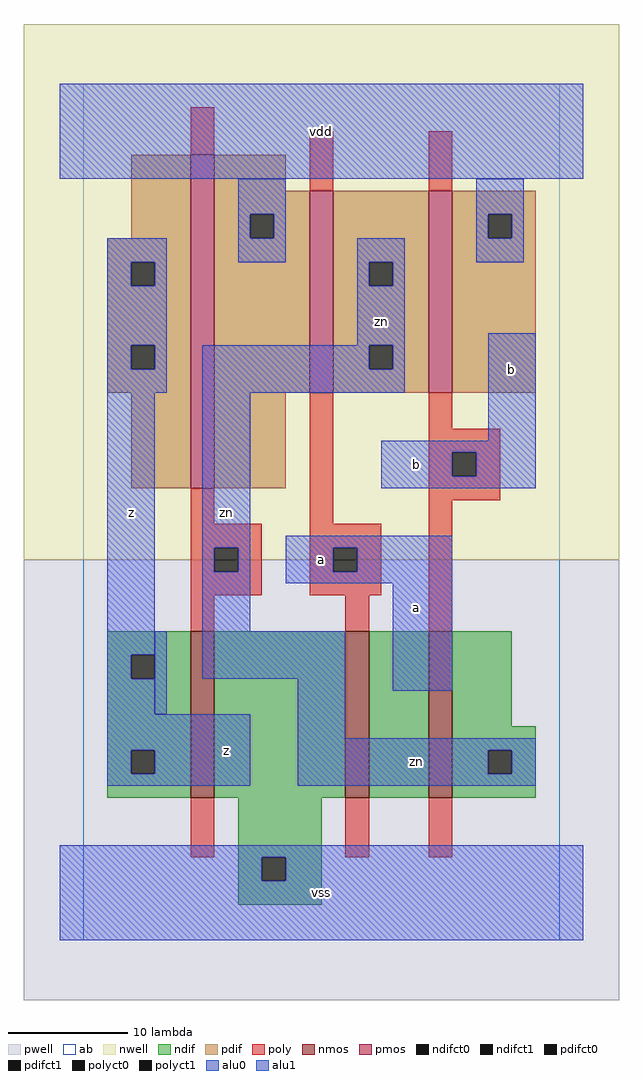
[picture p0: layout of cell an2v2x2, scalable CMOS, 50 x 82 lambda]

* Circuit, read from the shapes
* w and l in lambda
.subckt an2v2x2 a b vdd vss z zn
M1 vss zn z VSUBS nfet w=14 l=2
M2 n1 a vss VSUBS nfet w=14 l=2
M3 zn b n1 VSUBS nfet w=14 l=2
M4 vdd zn z n2 pfet w=28 l=2
M5 zn a vdd n2 pfet w=17 l=2
M6 vdd b zn n2 pfet w=17 l=2
.ends

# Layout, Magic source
magic
tech scmos
<< ab >>
rect 0 0 40 72
<< nwell >>
rect -5 32 45 77
<< pwell >>
rect -5 -5 45 32
<< poly >>
rect 9 66 11 70
rect 19 63 21 68
rect 29 63 31 68
rect 9 35 11 38
rect 19 35 21 46
rect 29 43 31 46
rect 29 41 35 43
rect 29 39 31 41
rect 33 39 35 41
rect 29 37 35 39
rect 9 33 15 35
rect 9 31 11 33
rect 13 31 15 33
rect 9 29 15 31
rect 19 33 25 35
rect 19 31 21 33
rect 23 31 25 33
rect 19 29 25 31
rect 9 26 11 29
rect 22 26 24 29
rect 29 26 31 37
rect 9 7 11 12
rect 22 7 24 12
rect 29 7 31 12
<< ndif >>
rect 2 24 9 26
rect 2 22 4 24
rect 6 22 9 24
rect 2 16 9 22
rect 2 14 4 16
rect 6 14 9 16
rect 2 12 9 14
rect 11 12 22 26
rect 24 12 29 26
rect 31 18 36 26
rect 31 16 38 18
rect 31 14 34 16
rect 36 14 38 16
rect 31 12 38 14
rect 13 7 20 12
rect 13 5 15 7
rect 17 5 20 7
rect 13 3 20 5
<< pdif >>
rect 4 59 9 66
rect 2 57 9 59
rect 2 55 4 57
rect 6 55 9 57
rect 2 50 9 55
rect 2 48 4 50
rect 6 48 9 50
rect 2 46 9 48
rect 4 38 9 46
rect 11 63 17 66
rect 11 61 19 63
rect 11 59 14 61
rect 16 59 19 61
rect 11 46 19 59
rect 21 57 29 63
rect 21 55 24 57
rect 26 55 29 57
rect 21 50 29 55
rect 21 48 24 50
rect 26 48 29 50
rect 21 46 29 48
rect 31 61 38 63
rect 31 59 34 61
rect 36 59 38 61
rect 31 46 38 59
rect 11 38 17 46
<< alu1 >>
rect -2 64 42 72
rect 2 57 7 59
rect 2 55 4 57
rect 6 55 7 57
rect 2 50 7 55
rect 2 48 4 50
rect 6 48 7 50
rect 2 46 7 48
rect 2 24 6 46
rect 34 42 38 51
rect 25 41 38 42
rect 25 39 31 41
rect 33 39 38 41
rect 25 38 38 39
rect 17 33 31 34
rect 17 31 21 33
rect 23 31 31 33
rect 17 30 31 31
rect 2 22 4 24
rect 2 19 6 22
rect 2 16 14 19
rect 2 14 4 16
rect 6 14 14 16
rect 2 13 14 14
rect 26 21 31 30
rect -2 7 42 8
rect -2 5 15 7
rect 17 5 42 7
rect -2 0 42 5
<< nmos >>
rect 9 12 11 26
rect 22 12 24 26
rect 29 12 31 26
<< pmos >>
rect 9 38 11 66
rect 19 46 21 63
rect 29 46 31 63
<< polyct0 >>
rect 11 31 13 33
<< polyct1 >>
rect 31 39 33 41
rect 21 31 23 33
<< ndifct0 >>
rect 34 14 36 16
<< ndifct1 >>
rect 4 22 6 24
rect 4 14 6 16
rect 15 5 17 7
<< pdifct0 >>
rect 14 59 16 61
rect 24 55 26 57
rect 24 48 26 50
rect 34 59 36 61
<< pdifct1 >>
rect 4 55 6 57
rect 4 48 6 50
<< alu0 >>
rect 13 61 17 64
rect 13 59 14 61
rect 16 59 17 61
rect 33 61 37 64
rect 33 59 34 61
rect 36 59 37 61
rect 13 57 17 59
rect 23 57 27 59
rect 33 57 37 59
rect 23 55 24 57
rect 26 55 27 57
rect 23 50 27 55
rect 10 48 24 50
rect 26 48 27 50
rect 10 46 27 48
rect 10 33 14 46
rect 10 31 11 33
rect 13 31 14 33
rect 10 26 14 31
rect 6 19 7 26
rect 10 22 22 26
rect 18 17 22 22
rect 18 16 38 17
rect 18 14 34 16
rect 36 14 38 16
rect 18 13 38 14
<< labels >>
rlabel alu0 12 36 12 36 6 zn
rlabel alu0 28 15 28 15 6 zn
rlabel alu0 25 52 25 52 6 zn
rlabel alu1 4 36 4 36 6 z
rlabel alu1 12 16 12 16 6 z
rlabel alu1 20 4 20 4 6 vss
rlabel alu1 20 32 20 32 6 a
rlabel alu1 28 28 28 28 6 a
rlabel alu1 28 40 28 40 6 b
rlabel alu1 20 68 20 68 6 vdd
rlabel alu1 36 48 36 48 6 b
<< end >>
